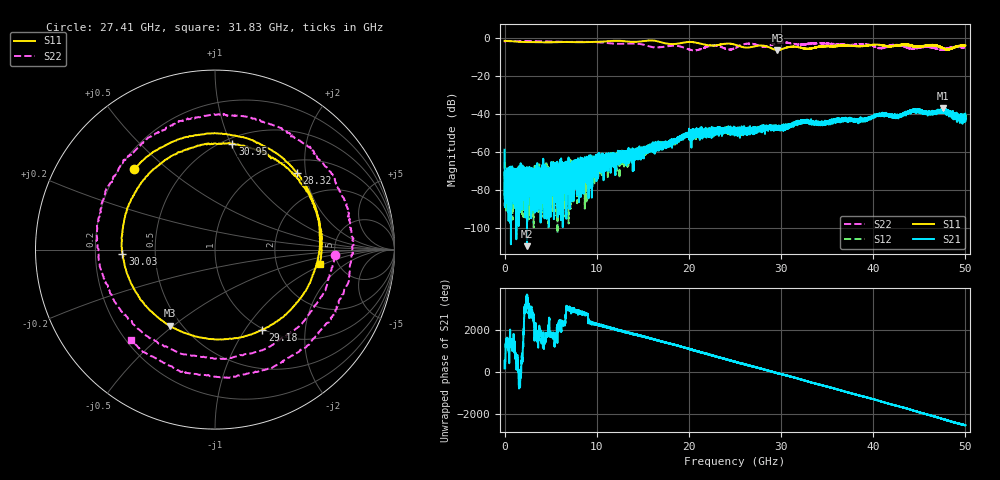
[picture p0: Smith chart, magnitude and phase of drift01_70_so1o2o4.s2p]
!Created with skrf (http://scikit-rf.org).
# Hz S RI R 50.0
!freq ReS11 ImS11 ReS21 ImS21 ReS12 ImS12 ReS22 ImS22
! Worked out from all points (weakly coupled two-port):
!   10001 points, 300 kHz to 50 GHz, reference 50 ohm
!   highest |S21| = -36.64 dB at 47.56 GHz (marker M1); lowest = -109.4 dB at 2.425 GHz (marker M2)
!   lowest |S11| = -6.2 dB at 29.61 GHz (marker M3), VSWR 2.93, Z = 21.8 - j24.3 ohm
!   |S11| at or under -10 dB: nowhere
!   |S22| runs from -6.4 to -1.4 dB; largest |S21 - S12| = 0.0038
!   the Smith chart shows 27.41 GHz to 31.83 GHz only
!   S11 on the Smith chart (normalised r, x): 27.41 GHz: 0.26, +0.39; 28.32 GHz: 1.27, +1.78; 29.18 GHz: 0.99, -1.21; 30.03 GHz: 0.32, -0.02; 30.95 GHz: 0.55, +1.01; 31.83 GHz: 3.65, -0.91
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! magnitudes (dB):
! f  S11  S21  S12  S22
! 300 kHz  -1.3  -58.6  -64.9  -2.1
! 265.3 MHz  -1.4  -71.8  -72.8  -1.4
! 2.425 GHz  -1.9  -109.4  -77.7  -1.4
! 5.49 GHz  -2.0  -76.5  -85.9  -1.7
! 8.335 GHz  -2.0  -68.6  -67.3  -1.8
! 16.67 GHz  -1.6  -57.7  -58.1  -4.8
! 18.62 GHz  -2.9  -53.7  -53.7  -3.9
! 20.61 GHz  -2.1  -52.5  -50.5  -6.3
! 22.62 GHz  -3.8  -49.4  -48.1  -3.8
! 25 GHz  -3.3  -48.5  -47.8  -5.0
! 26.22 GHz  -4.9  -49.8  -48.3  -2.9
! 27.41 GHz  -3.9  -47.2  -47.5  -3.5
! 28.32 GHz  -4.1  -47.5  -46.5  -4.3
! 29.18 GHz  -5.7  -48.0  -46.7  -3.0
! 29.61 GHz  -6.2  -47.0  -46.8  -2.6
! 30.03 GHz  -5.7  -47.1  -46.6  -2.3
! 30.95 GHz  -4.5  -45.4  -46.6  -2.5
! 31.83 GHz  -4.6  -44.6  -44.1  -3.3
! 33.34 GHz  -5.2  -44.1  -44.0  -2.6
! 41.67 GHz  -4.3  -40.3  -40.8  -4.2
! 47.56 GHz  -5.0  -36.6  -38.3  -5.5
! 50 GHz  -3.8  -42.1  -42.4  -5.2
